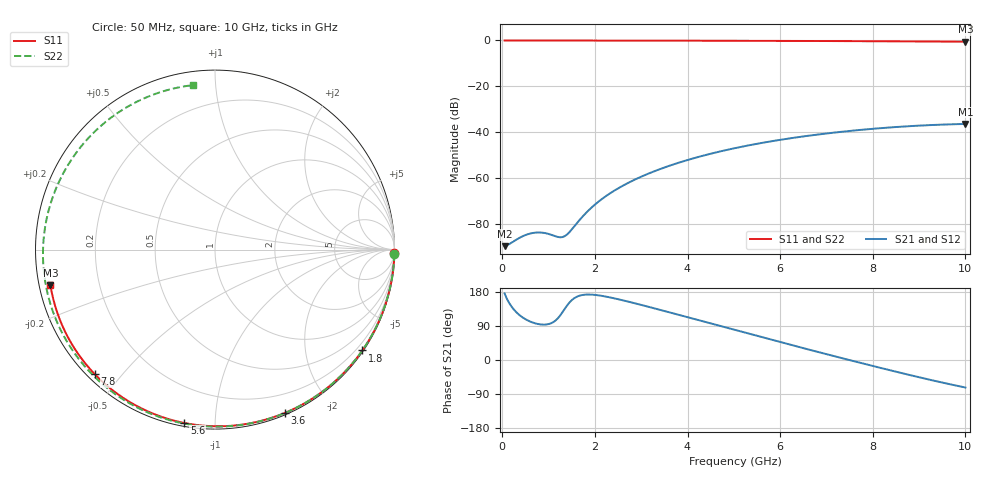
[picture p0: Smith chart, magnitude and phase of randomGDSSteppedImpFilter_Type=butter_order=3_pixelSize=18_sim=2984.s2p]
! freq	dB(S11)	phase(S11)	dB(S12)	phase(S12)
!  dB(S21)	phase(S21)	dB(S22)	phase(S22)
!S-par simulation data
#  GHz  S  DB  R 50
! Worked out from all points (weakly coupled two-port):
!   200 points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, 50 MHz to 10 GHz, reference 50 ohm
!   highest |S21| = -36.41 dB at 10 GHz (marker M1); lowest = -89.7 dB at 50 MHz (marker M2)
!   lowest |S11| = -0.6 dB at 10 GHz (marker M3), VSWR 31.30, Z = 1.62 - j5.35 ohm
!   |S11| at or under -10 dB: nowhere
!   |S22| runs from -0.7 to 0.0 dB; largest |S21 - S12| = 0
!   S11 on the Smith chart (normalised r, x): 50 MHz: open; 1.8 GHz: 0.03, -3.23; 3.6 GHz: 0.02, -1.52; 5.6 GHz: 0.02, -0.84; 7.8 GHz: 0.02, -0.43; 10 GHz: 0.03, -0.11
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0.05  -0.00 -1.0  -89.70 175.6  -89.70 175.6  -0.00 -1.4
0.8  -0.02 -15.5  -83.73 94.3  -83.73 94.3  -0.03 -21.5
1.6  -0.04 -30.7  -79.95 166.4  -79.95 166.4  -0.05 -42.5
1.75  -0.04 -33.5  -76.43 171.9  -76.43 171.9  -0.06 -46.3
1.8  -0.04 -34.4  -75.36 172.5  -75.36 172.5  -0.06 -47.6
2.1  -0.05 -40.0  -69.93 170.2  -69.93 170.2  -0.07 -55.3
2.45  -0.06 -46.4  -65.10 161.9  -65.10 161.9  -0.08 -64.1
2.9  -0.07 -54.5  -60.31 148.5  -60.31 148.5  -0.10 -75.3
3.4  -0.08 -63.4  -56.14 132.6  -56.14 132.6  -0.11 -87.5
3.6  -0.09 -66.8  -54.70 126.1  -54.70 126.1  -0.12 -92.3
4.3  -0.11 -78.8  -50.43 103.1  -50.43 103.1  -0.15 -108.9
5.05  -0.14 -91.2  -46.84 78.4  -46.84 78.4  -0.19 -126.5
5.6  -0.17 -100.0  -44.69 60.3  -44.69 60.3  -0.23 -139.4
6.15  -0.19 -108.7  -42.87 42.5  -42.87 42.5  -0.27 -152.5
6.7  -0.23 -117.2  -41.31 24.9  -41.31 24.9  -0.32 -165.9
7.25  -0.27 -125.6  -39.99 7.5  -39.99 7.5  -0.37 -179.7
7.8  -0.31 -133.9  -38.88 -9.6  -38.88 -9.6  -0.43 165.7
8.35  -0.36 -142.3  -37.97 -26.4  -37.97 -26.4  -0.49 150.3
8.8  -0.41 -149.1  -37.37 -39.7  -37.37 -39.7  -0.54 137.0
9.25  -0.46 -156.0  -36.90 -52.6  -36.90 -52.6  -0.60 122.9
9.65  -0.51 -162.2  -36.59 -63.6  -36.59 -63.6  -0.64 109.7
10  -0.56 -167.8  -36.41 -72.6  -36.41 -72.6  -0.68 97.8
